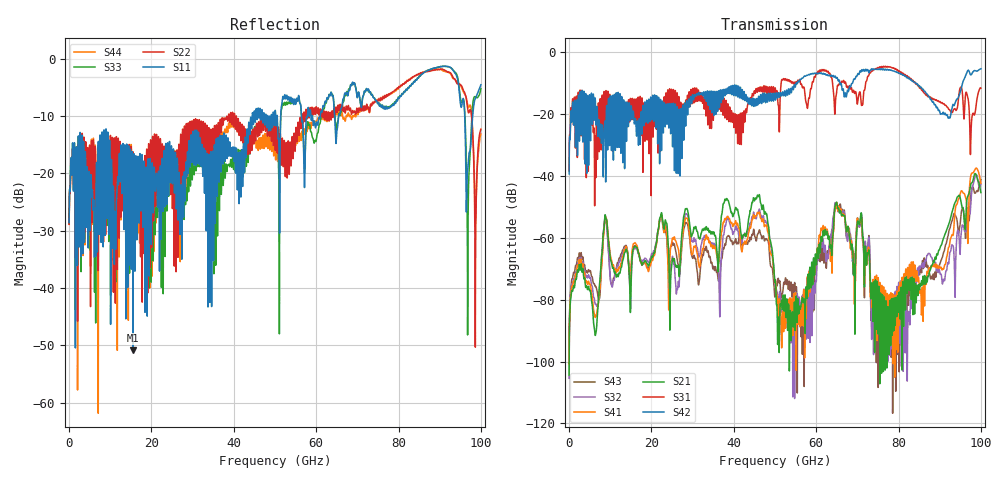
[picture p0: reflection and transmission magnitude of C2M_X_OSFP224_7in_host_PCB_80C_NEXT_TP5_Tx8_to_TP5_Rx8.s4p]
# GHz S RI R 45
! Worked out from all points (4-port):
!   4000 points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, 25 MHz to 100 GHz, reference 45 ohm
!   strongest paths, dB at 25 MHz, 25.02 GHz, 50.02 GHz, 75.03 GHz, 100 GHz:
!     S42: -39.4, -19.4, -14.4, -5.5, -5.4
!     S31: -38.4, -15.7, -11.5, -5.0, -11.6
!     S21: -104.4, -67.6, -74.0, -91.1, -45.4
!     S41: -100.8, -60.7, -74.1, -73.1, -42.3
!     S32: -105.4, -66.5, -75.1, -75.9, -42.6
!     S43: -92.2, -62.0, -79.1, -88.8, -41.2
!   lowest |S11| = -50.8 dB at 15.55 GHz (marker M1), VSWR 1.01, Z = 45.1 + j0.253 ohm
!   |S11| at or under -10 dB: start of sweep to 44.48 GHz; 59.1 GHz to 61.02 GHz (1.918 GHz wide, 3.19 % of centre); 96.08 GHz to 98 GHz (1.927 GHz wide, 1.99 % of centre) (the widest 3 of 20)
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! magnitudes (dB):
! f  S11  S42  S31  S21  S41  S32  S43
! 25 MHz  -28.6  -39.4  -38.4  -104.4  -100.8  -105.4  -92.2
! 15.55 GHz  -50.8  -19.1  -20.4  -63.9  -62.2  -64.3  -63.1
! 45.88 GHz  -8.7  -16.5  -11.6  -46.5  -52.0  -51.8  -58.7
! 56.38 GHz  -9.2  -8.7  -10.3  -81.5  -87.7  -81.8  -89.6
! 65.1 GHz  -12.3  -8.2  -11.3  -49.3  -48.9  -49.1  -50.7
! 85.9 GHz  -2.6  -11.9  -12.7  -73.1  -81.1  -69.6  -67.9
! 100 GHz  -4.6  -5.4  -11.6  -45.4  -42.3  -42.6  -41.2
